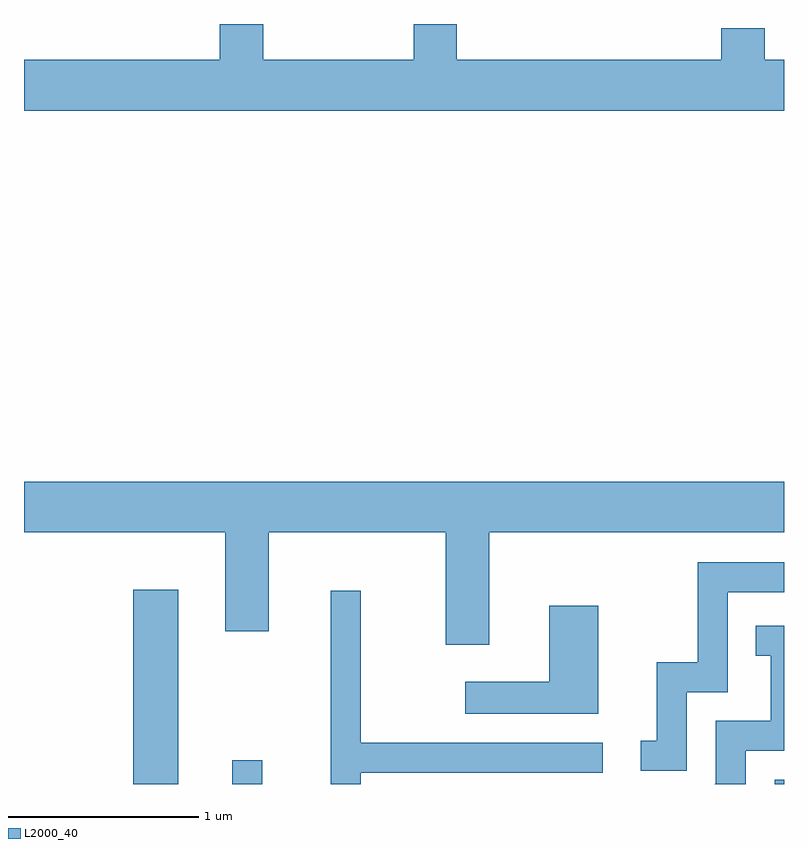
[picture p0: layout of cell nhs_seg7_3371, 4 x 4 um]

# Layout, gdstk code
import gdstk
lib = gdstk.Library(unit=1e-6, precision=1e-09)
def R(c, l, rs):  # rectangles x0, y0, x1, y1
    for r in rs: c.add(gdstk.rectangle(r[:2], r[2:], *l))
def P(c, l, *ps):  # polygons
    for p in ps: c.add(gdstk.Polygon(p, *l))
L2000_40 = (2000, 40)

nhs_seg7_3371 = lib.new_cell('nhs_seg7_3371')
R(nhs_seg7_3371, L2000_40, [(288.186,1786.252,288.424,1787.274), (288.706,1786.252,288.864,1786.378), (291.561,1786.252,291.611,1786.274)])
P(nhs_seg7_3371, L2000_40, [(291.611,1790.064),(291.509,1790.064),(291.509,1790.229),(291.281,1790.229),(291.281,1790.064),(289.889,1790.064),(289.889,1790.252),(289.661,1790.252),(289.661,1790.064),(288.869,1790.064),(288.869,1790.252),(288.641,1790.252),(288.641,1790.064),(287.611,1790.064),(287.611,1789.796),(291.611,1789.796)],
  [(290.059,1787.576),(291.611,1787.576),(291.611,1787.844),(287.611,1787.844),(287.611,1787.576),(288.671,1787.576),(288.671,1787.056),(288.899,1787.056),(288.899,1787.576),(289.831,1787.576),(289.831,1786.986),(290.059,1786.986)],
  [(291.099,1786.736),(291.314,1786.736),(291.314,1787.261),(291.611,1787.261),(291.611,1787.419),(291.156,1787.419),(291.156,1786.894),(290.941,1786.894),(290.941,1786.479),(290.858,1786.479),(290.858,1786.321),(291.099,1786.321)],
  [(289.384,1786.311),(290.658,1786.311),(290.658,1786.469),(289.384,1786.469),(289.384,1787.268),(289.226,1787.268),(289.226,1786.252),(289.384,1786.252)],
  [(290.634,1787.189),(290.376,1787.189),(290.376,1786.789),(289.933,1786.789),(289.933,1786.621),(290.634,1786.621)],
  [(291.409,1786.426),(291.611,1786.426),(291.611,1787.084),(291.463,1787.084),(291.463,1786.926),(291.541,1786.926),(291.541,1786.584),(291.251,1786.584),(291.251,1786.257),(291.246,1786.252),(291.409,1786.252)])

lib.write_gds('nhs_seg7_3371.gds')
